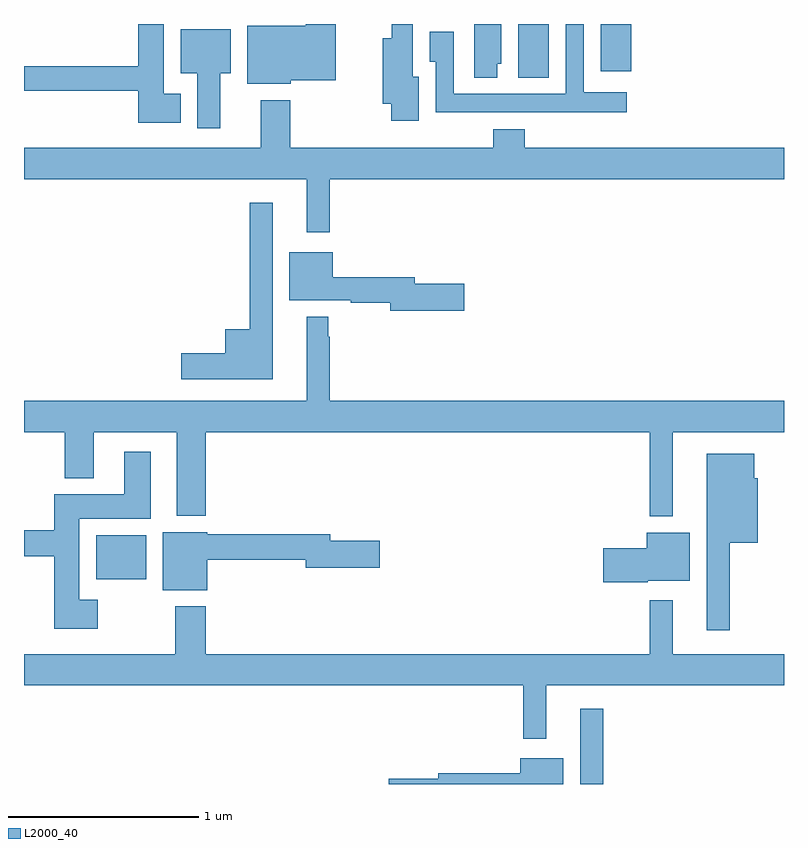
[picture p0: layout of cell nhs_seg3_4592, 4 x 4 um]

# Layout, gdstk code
import gdstk
lib = gdstk.Library(unit=1e-6, precision=1e-09)
def R(c, l, rs):  # rectangles x0, y0, x1, y1
    for r in rs: c.add(gdstk.rectangle(r[:2], r[2:], *l))
def P(c, l, *ps):  # polygons
    for p in ps: c.add(gdstk.Polygon(p, *l))
L2000_40 = (2000, 40)

nhs_seg3_4592 = lib.new_cell('nhs_seg3_4592')
R(nhs_seg3_4592, L2000_40, [(359.927,696.4,360.049,696.796), (357.38,697.478,357.643,697.708), (359.6,700.117,359.761,700.4), (360.035,700.152,360.196,700.4)])
P(nhs_seg3_4592, L2000_40, [(358.404,700.103),(358.642,700.103),(358.642,700.4),(358.484,700.4),(358.484,700.39),(358.175,700.39),(358.175,700.085),(358.404,700.085)],
  [(357.826,700.033),(357.736,700.033),(357.736,700.4),(357.602,700.4),(357.602,700.178),(357,700.178),(357,700.05),(357.602,700.05),(357.602,699.881),(357.826,699.881)],
  [(359.077,700.123),(359.047,700.123),(359.047,700.4),(358.936,700.4),(358.936,700.324),(358.889,700.324),(358.889,699.98),(358.934,699.98),(358.934,699.891),(359.077,699.891)],
  [(359.387,699.936),(359.753,699.936),(359.753,699.935),(360.172,699.935),(360.172,700.042),(359.946,700.042),(359.946,700.4),(359.85,700.4),(359.85,700.032),(359.262,700.032),(359.262,700.36),(359.135,700.36),(359.135,700.201),(359.166,700.201),(359.166,699.935),(359.387,699.935)],
  [(359.491,700.191),(359.512,700.191),(359.512,700.4),(359.369,700.4),(359.369,700.117),(359.491,700.117)],
  [(358.033,700.142),(358.087,700.142),(358.087,700.372),(357.824,700.372),(357.824,700.142),(357.911,700.142),(357.911,699.852),(358.033,699.852)],
  [(358.609,699.584),(361,699.584),(361,699.748),(359.636,699.748),(359.636,699.847),(359.471,699.847),(359.471,699.748),(358.4,699.748),(358.4,700),(358.247,700),(358.247,699.748),(357,699.748),(357,699.584),(358.487,699.584),(358.487,699.303),(358.609,699.303)],
  [(358.309,699.46),(358.188,699.46),(358.188,698.794),(358.058,698.794),(358.058,698.666),(357.828,698.666),(357.828,698.531),(358.309,698.531)],
  [(359.317,699.032),(359.056,699.032),(359.056,699.068),(358.624,699.068),(358.624,699.199),(358.397,699.199),(358.397,698.945),(358.72,698.945),(358.72,698.932),(358.928,698.932),(358.928,698.89),(359.317,698.89)],
  [(360.415,698.252),(361,698.252),(361,698.416),(358.609,698.416),(358.609,698.753),(358.602,698.753),(358.602,698.86),(358.487,698.86),(358.487,698.416),(357,698.416),(357,698.252),(357.215,698.252),(357.215,698.009),(357.367,698.009),(357.367,698.252),(357.803,698.252),(357.803,697.811),(357.956,697.811),(357.956,698.252),(360.294,698.252),(360.294,697.808),(360.415,697.808)],
  [(357.388,697.369),(357.292,697.369),(357.292,697.796),(357.667,697.796),(357.667,698.149),(357.527,698.149),(357.527,697.924),(357.158,697.924),(357.158,697.736),(357,697.736),(357,697.6),(357.158,697.6),(357.158,697.217),(357.388,697.217)],
  [(360.715,697.67),(360.862,697.67),(360.862,698.01),(360.844,698.01),(360.844,698.137),(360.593,698.137),(360.593,697.209),(360.715,697.209)],
  [(357.964,697.579),(358.484,697.579),(358.484,697.537),(358.873,697.537),(358.873,697.679),(358.612,697.679),(358.612,697.715),(357.964,697.715),(357.964,697.726),(357.731,697.726),(357.731,697.421),(357.964,697.421)],
  [(360.282,697.469),(360.505,697.469),(360.505,697.723),(360.278,697.723),(360.278,697.64),(360.048,697.64),(360.048,697.462),(360.282,697.462)],
  [(359.749,696.92),(361,696.92),(361,697.084),(360.415,697.084),(360.415,697.366),(360.294,697.366),(360.294,697.084),(357.956,697.084),(357.956,697.336),(357.796,697.336),(357.796,697.084),(357,697.084),(357,696.92),(359.628,696.92),(359.628,696.639),(359.749,696.639)],
  [(359.839,696.535),(359.612,696.535),(359.612,696.457),(359.18,696.457),(359.18,696.428),(358.92,696.428),(358.92,696.4),(359.839,696.4)])

lib.write_gds('nhs_seg3_4592.gds')
